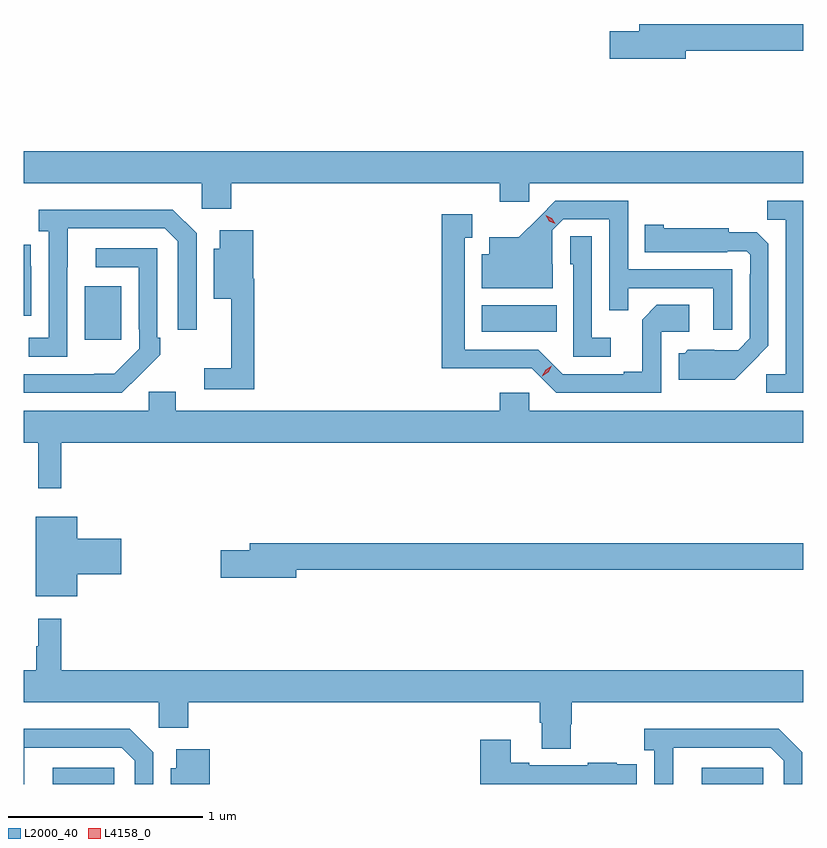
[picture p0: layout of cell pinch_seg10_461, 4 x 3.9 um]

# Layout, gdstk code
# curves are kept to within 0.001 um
import gdstk
lib = gdstk.Library(unit=1e-6, precision=1e-09)
def R(c, l, rs):  # rectangles x0, y0, x1, y1
    for r in rs: c.add(gdstk.rectangle(r[:2], r[2:], *l))
def P(c, l, *ps):  # polygons
    for p in ps: c.add(gdstk.Polygon(p, *l))
L2000_40 = (2000, 40)
L4158_0 = (4158, 0)

pinch_seg10_461 = lib.new_cell('pinch_seg10_461')
R(pinch_seg10_461, L2000_40, [(278.361,1299.897,278.676,1299.981), (281.691,1299.897,282.006,1299.981), (278.525,1302.177,278.713,1302.451), (280.562,1302.218,280.946,1302.352)])
P(pinch_seg10_461, L2000_40, [(281.608,1303.66),(282.212,1303.66),(282.212,1303.796),(281.369,1303.796),(281.369,1303.76),(281.22,1303.76),(281.22,1303.618),(281.608,1303.618)],
  [(279.278,1302.98),(280.655,1302.98),(280.655,1302.885),(280.806,1302.885),(280.806,1302.98),(282.212,1302.98),(282.212,1303.144),(278.212,1303.144),(278.212,1302.98),(279.126,1302.98),(279.126,1302.849),(279.278,1302.849)],
  [(282.212,1302.888),(282.028,1302.888),(282.028,1302.793),(282.123,1302.793),(282.123,1302),(282.021,1302),(282.021,1301.904),(282.212,1301.904)],
  [(281.847,1302.537),(281.313,1302.537),(281.313,1302.888),(280.94,1302.888),(280.753,1302.703),(280.601,1302.703),(280.601,1302.616),(280.562,1302.616),(280.562,1302.44),(280.927,1302.44),(280.927,1302.564),(280.923,1302.564),(280.923,1302.738),(280.98,1302.795),(281.217,1302.795),(281.217,1302.328),(281.315,1302.328),(281.315,1302.441),(281.751,1302.441),(281.751,1302.228),(281.847,1302.228)],
  [(278.436,1302.547),(278.437,1302.747),(278.937,1302.747),(279.003,1302.681),(279.003,1302.228),(279.099,1302.228),(279.099,1302.723),(278.978,1302.844),(278.289,1302.844),(278.289,1302.734),(278.34,1302.734),(278.34,1302.186),(278.238,1302.186),(278.238,1302.09),(278.436,1302.09)],
  [(281.484,1302.216),(281.626,1302.216),(281.626,1302.356),(281.461,1302.356),(281.385,1302.28),(281.385,1302.013),(281.291,1302.013),(281.291,1302),(280.977,1302),(280.851,1302.126),(280.474,1302.126),(280.474,1302.699),(280.513,1302.699),(280.513,1302.82),(280.356,1302.82),(280.356,1302.029),(280.818,1302.03),(280.944,1301.904),(281.484,1301.904)],
  [(281.941,1302.053),(282.033,1302.146),(282.033,1302.668),(281.974,1302.727),(281.829,1302.727),(281.829,1302.748),(281.496,1302.748),(281.496,1302.766),(281.398,1302.766),(281.398,1302.626),(281.822,1302.626),(281.822,1302.63),(281.922,1302.63),(281.94,1302.612),(281.94,1302.512),(281.937,1302.512),(281.937,1302.183),(281.877,1302.123),(281.62,1302.124),(281.604,1302.108),(281.573,1302.108),(281.573,1301.972),(281.861,1301.972)],
  [(279.395,1302.49),(279.389,1302.49),(279.389,1302.739),(279.218,1302.739),(279.218,1302.643),(279.188,1302.643),(279.188,1302.386),(279.278,1302.386),(279.278,1302.031),(279.138,1302.031),(279.138,1301.922),(279.395,1301.922)],
  [(281.224,1302.187),(281.127,1302.187),(281.127,1302.707),(281.016,1302.707),(281.016,1302.564),(281.031,1302.564),(281.031,1302.09),(281.224,1302.09)],
  [(278.25,1302.554),(278.249,1302.554),(278.249,1302.663),(278.212,1302.663),(278.212,1302.3),(278.25,1302.3)],
  [(278.807,1301.995),(278.808,1301.994),(278.913,1302.099),(278.913,1302.187),(278.898,1302.187),(278.898,1302.645),(278.583,1302.645),(278.583,1302.549),(278.802,1302.549),(278.802,1302.229),(278.805,1302.229),(278.805,1302.129),(278.677,1302.001),(278.212,1302),(278.212,1301.904),(278.716,1301.904)],
  [(282.212,1301.812),(280.806,1301.812),(280.806,1301.905),(280.655,1301.905),(280.655,1301.812),(278.992,1301.812),(278.992,1301.91),(278.853,1301.91),(278.853,1301.812),(278.212,1301.812),(278.212,1301.648),(278.288,1301.648),(278.288,1301.415),(278.405,1301.415),(278.405,1301.648),(282.212,1301.648)],
  [(278.488,1300.973),(278.713,1300.973),(278.713,1301.156),(278.488,1301.156),(278.488,1301.269),(278.273,1301.269),(278.273,1300.859),(278.488,1300.859)],
  [(279.61,1300.996),(282.212,1300.996),(282.212,1301.132),(279.371,1301.132),(279.371,1301.096),(279.222,1301.096),(279.222,1300.954),(279.61,1300.954)],
  [(278.904,1300.185),(279.056,1300.185),(279.056,1300.316),(280.859,1300.316),(280.859,1300.21),(280.871,1300.21),(280.871,1300.078),(281.019,1300.078),(281.019,1300.203),(281.024,1300.203),(281.024,1300.316),(282.212,1300.316),(282.212,1300.48),(278.405,1300.48),(278.405,1300.744),(278.288,1300.744),(278.288,1300.604),(278.277,1300.604),(278.277,1300.48),(278.212,1300.48),(278.212,1300.316),(278.904,1300.316)],
  [(281.545,1300.083),(282.045,1300.083),(282.111,1300.017),(282.111,1299.897),(282.207,1299.897),(282.207,1300.059),(282.086,1300.18),(281.397,1300.18),(281.397,1300.07),(281.448,1300.07),(281.448,1299.897),(281.545,1299.897)],
  [(278.215,1300.083),(278.715,1300.083),(278.781,1300.017),(278.781,1299.897),(278.877,1299.897),(278.877,1300.059),(278.756,1300.18),(278.212,1300.18),(278.212,1299.897),(278.215,1299.897)],
  [(281.357,1299.999),(281.255,1299.999),(281.255,1300.006),(281.107,1300.006),(281.107,1299.993),(280.807,1299.993),(280.807,1300.006),(280.711,1300.006),(280.711,1300.123),(280.555,1300.123),(280.555,1299.897),(281.357,1299.897)],
  [(279.167,1300.075),(278.996,1300.075),(278.996,1299.979),(278.966,1299.979),(278.966,1299.897),(279.167,1299.897)])
P(pinch_seg10_461, L4158_0, [(280.938,1302.77),(280.908,1302.785),(280.89,1302.814),(280.89,1302.815),(280.89,1302.815),(280.921,1302.8),(280.939,1302.77),(280.939,1302.77)],
  [(280.872,1301.99),(280.872,1301.991),(280.89,1302.023),(280.922,1302.042),(280.922,1302.042),(280.922,1302.042),(280.904,1302.009),(280.872,1301.99)])

lib.write_gds('pinch_seg10_461.gds')
